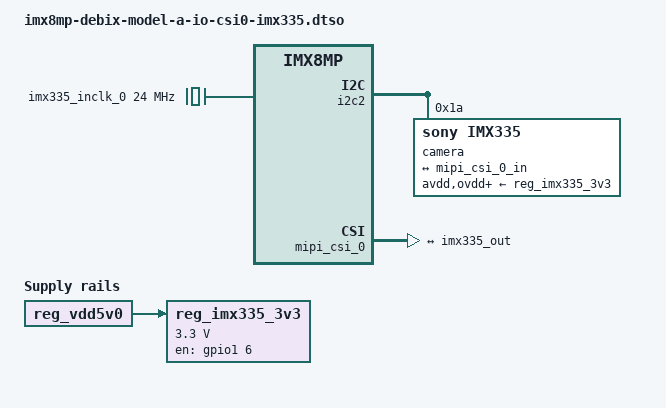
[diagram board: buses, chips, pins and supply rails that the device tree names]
// SPDX-License-Identifier: (GPL-2.0+ OR MIT)
/*
 * Copyright 2024 Ideas on Board Oy
 */

/dts-v1/;
/plugin/;

#include <dt-bindings/gpio/gpio.h>
#include "imx8mp-pinfunc.h"

#include "imx8mp-debix-model-a-csi0.dtsi"

&{/} {
	/* 24 MHz Crystal on the camera module */
	imx335_inclk_0: imx335_inclk_24m {
		compatible = "fixed-clock";
		#clock-cells = <0>;
		status = "okay";
		clock-frequency = <24000000>;
	};

	reg_imx335_3v3: regulator-imx335-vdd3v3 {
		compatible = "regulator-fixed";
		pinctrl-names = "default";
		pinctrl-0 = <&pinctrl_csi0_pwdn>;
		regulator-min-microvolt = <3300000>;
		regulator-max-microvolt = <3300000>;
		regulator-name = "IMX335_POWER_EN";
		gpio = <&gpio1 6 GPIO_ACTIVE_HIGH>;
		vin-supply = <&reg_vdd5v0>;
		startup-delay-us = <300000>;
		enable-active-high;
	};
};

&i2c2 {
	camera: imx335@1a {
		compatible = "sony,imx335";
		reg = <0x1a>;

		pinctrl-names = "default";
		pinctrl-0 = <&pinctrl_csi0_rst>;

		clocks = <&imx335_inclk_0>;
		clock-names = "xclk";

		rotation = <0>;
		orientation = <2>;

		status = "okay";

		/* Arducam IMX335 module uses *only* the 3v3 line */
		avdd-supply = <&reg_imx335_3v3>;
		ovdd-supply = <&reg_imx335_3v3>;
		dvdd-supply = <&reg_imx335_3v3>;

		port {
			imx335_out: endpoint {
				remote-endpoint = <&mipi_csi_0_in>;
				clock-lanes = <0>;
				/*
				 * imx335 supports 4 lanes but
				 * model A I/O only supports 2 lanes
				 */
				data-lanes = <1 2>;
				link-frequencies = /bits/ 64 <594000000>;
			};
		};
	};

};

&mipi_csi_0 {
	status = "okay";

	ports {
		port@0 {
			mipi_csi_0_in: endpoint {
				remote-endpoint = <&imx335_out>;
				clock-lanes = <0>;
				/*
				 * imx335 supports 4 lanes but
				 * model A I/O board only supports 2 lanes
				 */
				data-lanes = <1 2>;
			};
		};
	};
};
